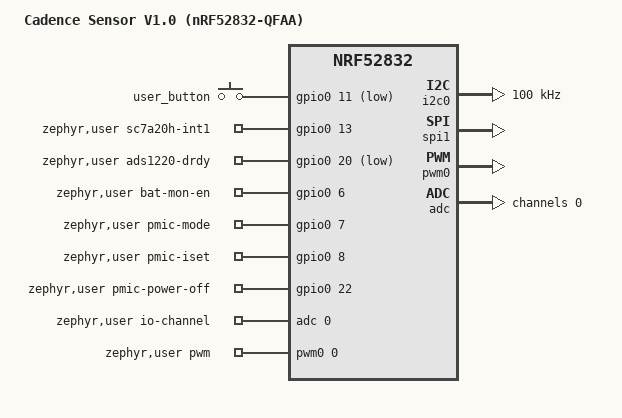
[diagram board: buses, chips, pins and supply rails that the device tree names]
/* SPDX-License-Identifier: Apache-2.0 */

/dts-v1/;

#include <nordic/nrf52832_qfaa.dtsi>
#include <zephyr/dt-bindings/adc/adc.h>
#include <zephyr/dt-bindings/gpio/gpio.h>
#include <zephyr/dt-bindings/i2c/i2c.h>
#include <zephyr/dt-bindings/input/input-event-codes.h>
#include <zephyr/dt-bindings/pwm/pwm.h>
#include "cadence_sensor_nrf52832-pinctrl.dtsi"

/ {
	model = "Cadence Sensor V1.0 (nRF52832-QFAA)";
	compatible = "swimers,cadence-sensor";

	chosen {
		zephyr,sram = &sram0;
		zephyr,flash = &flash0;
	};

	aliases {
		sw0 = &user_button;
	};

	buttons {
		compatible = "gpio-keys";

		user_button: user-button {
			gpios = <&gpio0 11 (GPIO_PULL_UP | GPIO_ACTIVE_LOW)>;
			zephyr,code = <INPUT_KEY_0>;
		};
	};

	zephyr,user {
		sc7a20h-i2c = <&i2c0>;
		sc7a20h-address = <0x19>;
		/* Match the interrupt polarity selected in the sensor. */
		sc7a20h-int1-gpios = <&gpio0 13 0>;

		ads1220-spi = <&spi1>;
		ads1220-spi-max-frequency = <DT_FREQ_M(1)>;
		ads1220-spi-cpha;
		ads1220-drdy-gpios = <&gpio0 20 GPIO_ACTIVE_LOW>;

		io-channels = <&adc 0>;
		bat-mon-full-ohms = <1720000>;
		bat-mon-output-ohms = <220000>;
		/* Use raw levels for these control lines until verified on hardware. */
		bat-mon-en-gpios = <&gpio0 6 0>;
		pmic-mode-gpios = <&gpio0 7 0>;
		pmic-iset-gpios = <&gpio0 8 0>;
		pmic-power-off-gpios = <&gpio0 22 0>;

		pwms = <&pwm0 0 PWM_USEC(250) PWM_POLARITY_NORMAL>;
	};
};

&gpio0 {
	status = "okay";
};

&gpiote {
	status = "okay";
};

&uicr {
	gpio-as-nreset;
};

&i2c0 {
	status = "okay";
	clock-frequency = <I2C_BITRATE_STANDARD>;
	pinctrl-0 = <&i2c0_default>;
	pinctrl-1 = <&i2c0_sleep>;
	pinctrl-names = "default", "sleep";
};

&spi1 {
	compatible = "nordic,nrf-spim";
	status = "okay";
	cs-gpios = <&gpio0 19 GPIO_ACTIVE_LOW>;
	pinctrl-0 = <&spi1_default>;
	pinctrl-1 = <&spi1_sleep>;
	pinctrl-names = "default", "sleep";
};

&pwm0 {
	status = "okay";
	pinctrl-0 = <&pwm0_default>;
	pinctrl-1 = <&pwm0_sleep>;
	pinctrl-names = "default", "sleep";
};

&adc {
	status = "okay";
	#address-cells = <1>;
	#size-cells = <0>;

	channel@0 {
		reg = <0>;
		zephyr,gain = "ADC_GAIN_1_2";
		zephyr,reference = "ADC_REF_INTERNAL";
		zephyr,acquisition-time = <ADC_ACQ_TIME(ADC_ACQ_TIME_MICROSECONDS, 40)>;
		zephyr,input-positive = <NRF_SAADC_AIN0>;
		zephyr,resolution = <12>;
	};
};
